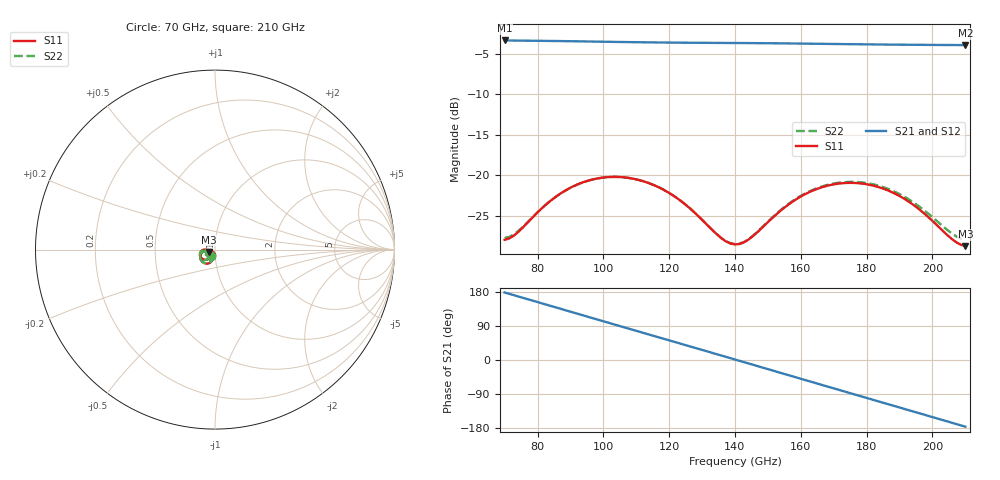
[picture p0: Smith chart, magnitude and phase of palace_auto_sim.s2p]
#  GHZ S DB R 50
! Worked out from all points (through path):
!   101 points, 70 GHz to 210 GHz, reference 50 ohm
!   highest |S21| = -3.35 dB at 70 GHz (marker M1); lowest = -3.9 dB at 210 GHz (marker M2)
!   group delay of S21, straight-line fit = 7.03 ps
!   lowest |S11| = -28.7 dB at 210 GHz (marker M3), VSWR 1.08, Z = 46.7 - j1.19 ohm
!   |S11| at or under -10 dB: start of sweep to end of sweep
!   |S22| runs from -28.5 to -20.2 dB; largest |S21 - S12| = 7.6e-14
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70  -27.95 -124.9  -3.35 178.1  -3.35 178.1  -27.73 -126.4
74.2  -26.97 -111.1  -3.37 167.5  -3.37 167.5  -26.86 -112.8
81.2  -24.11 -105.2  -3.40 149.8  -3.40 149.8  -24.10 -106.5
88.2  -21.93 -111.8  -3.43 132.1  -3.43 132.1  -21.94 -112.7
93.8  -20.86 -120.6  -3.47 117.9  -3.47 117.9  -20.87 -121.3
99.4  -20.30 -130.6  -3.50 103.7  -3.50 103.7  -20.31 -131.1
105  -20.21 -140.9  -3.54 89.6  -3.54 89.6  -20.21 -141.3
110.6  -20.56 -151.0  -3.57 75.5  -3.57 75.5  -20.55 -151.3
117.6  -21.63 -162.2  -3.60 57.9  -3.60 57.9  -21.62 -162.4
128.8  -25.01 -171.5  -3.64 29.6  -3.64 29.6  -25.00 -171.4
135.8  -27.74 -162.8  -3.65 11.9  -3.65 11.9  -27.71 -162.5
140  -28.53 -149.3  -3.66 1.3  -3.66 1.3  -28.49 -149.0
144.2  -27.90 -135.6  -3.67 -9.4  -3.67 -9.4  -27.85 -135.2
151.2  -25.32 -125.9  -3.70 -27.1  -3.70 -27.1  -25.25 -125.5
163.8  -21.85 -135.7  -3.75 -59.1  -3.75 -59.1  -21.77 -135.1
169.4  -21.16 -144.0  -3.78 -73.3  -3.78 -73.3  -21.06 -143.3
175  -20.93 -152.9  -3.81 -87.5  -3.81 -87.5  -20.81 -152.1
180.6  -21.15 -161.9  -3.83 -101.6  -3.83 -101.6  -21.00 -160.8
187.6  -22.06 -172.0  -3.86 -119.3  -3.86 -119.3  -21.85 -170.7
198.8  -25.18 179.6  -3.89 -147.6  -3.89 -147.6  -24.76 -178.8
205.8  -27.83 -172.4  -3.91 -165.3  -3.91 -165.3  -27.15 -171.7
210  -28.74 -159.6  -3.92 -176.0  -3.92 -176.0  -27.99 -160.6
